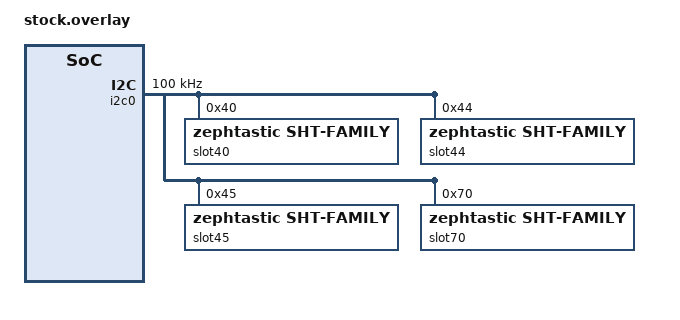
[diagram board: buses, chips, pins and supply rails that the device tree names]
/* Source fixture declaring only these four sockets on one I2C bus. */
/ { aliases {
    zt-sht40 = &slot40; zt-sht44 = &slot44; zt-sht45 = &slot45; zt-sht70 = &slot70;
}; };
&i2c0 {
    status = "okay";
    clock-frequency = <100000>;
    slot40: sht-family@40 { compatible = "zephtastic,sht-family"; reg = <0x40>; };
    slot44: sht-family@44 { compatible = "zephtastic,sht-family"; reg = <0x44>; };
    slot45: sht-family@45 { compatible = "zephtastic,sht-family"; reg = <0x45>; };
    slot70: sht-family@70 { compatible = "zephtastic,sht-family"; reg = <0x70>; };
};
